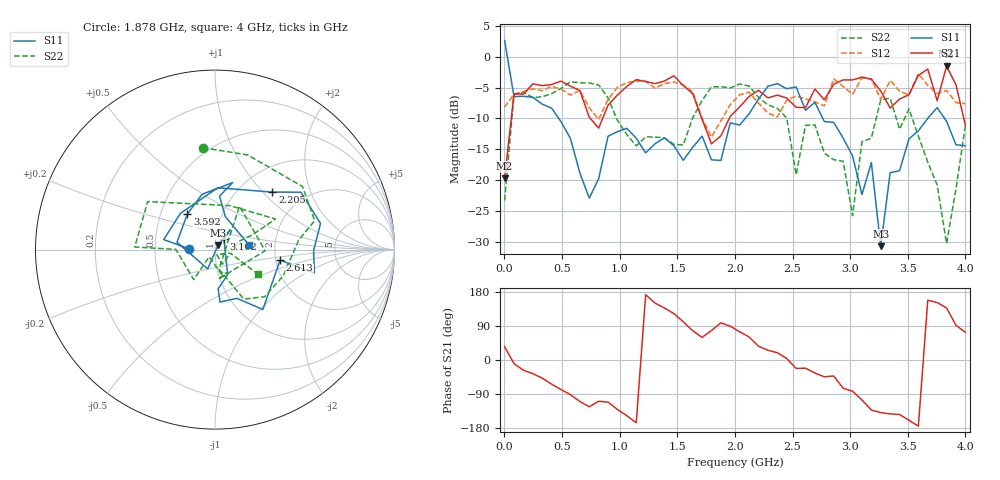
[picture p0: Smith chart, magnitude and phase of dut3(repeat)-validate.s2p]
!Created with skrf (http://scikit-rf.org).
# GHz S DB R 50.0
!freq dBS11 angS11 dBS21 angS21 dBS12 angS12 dBS22 angS22
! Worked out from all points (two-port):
!   50 points, 1 MHz to 4 GHz, reference 50 ohm
!   highest |S21| = -1.53 dB at 3.837 GHz (marker M1); lowest = -19.7 dB at 1 MHz (marker M2)
!   |S21| within 3 dB of the highest: 1.084 GHz to 1.544 GHz (460.6 MHz wide, 35.1 % of centre); 2.855 GHz to 3.222 GHz (366.2 MHz wide, 12.1 % of centre)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
!   lowest |S11| = -30.7 dB at 3.265 GHz (marker M3), VSWR 1.06, Z = 51.7 + j2.44 ohm
!   |S11| at or under -10 dB: 470.7 MHz to 2.09 GHz (1.619 GHz wide, 126 % of centre); 2.762 GHz to 3.673 GHz (911 MHz wide, 28.3 % of centre); 3.819 GHz to end of sweep
!   |S22| runs from -30.3 to -4.1 dB; largest |S21 - S12| = 0.37
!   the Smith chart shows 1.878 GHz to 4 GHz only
!   S11 on the Smith chart (normalised r, x): 1.878 GHz: 0.75, +0.01; 2.205 GHz: 1.41, +1.13; 2.613 GHz: 2.11, -0.29; 3.102 GHz: 1.10, +0.13; 3.592 GHz: 0.68, +0.29; 4 GHz: 1.46, +0.08
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0.001  2.63 -179.1  -19.68 35.0  -8.16 -35.7  -23.29 119.8
0.08261224  -6.47 160.3  -6.03 -9.4  -6.09 -11.0  -6.13 165.0
0.5722857  -13.25 12.9  -4.77 -91.5  -6.22 -95.6  -4.06 59.1
0.7355102  -22.92 -147.4  -9.79 -123.4  -8.25 -139.6  -4.28 -4.7
0.9803469  -12.15 9.4  -6.21 -130.5  -4.95 -128.0  -10.35 -65.2
1.388408  -13.15 -137.5  -3.95 137.2  -4.35 137.9  -13.15 -125.6
1.633245  -14.69 69.2  -5.99 77.4  -5.66 82.2  -9.92 175.1
1.878082  -16.81 178.0  -12.82 98.1  -10.39 100.0  -4.86 96.7
2.041306  -11.09 133.6  -8.13 74.4  -6.17 64.4  -4.42 35.8
2.204531  -6.89 45.0  -5.44 36.3  -7.52 32.7  -6.58 6.4
2.53098  -4.90 -13.2  -8.20 -22.2  -6.39 -0.1  -19.15 -78.3
2.612592  -8.69 -9.2  -8.24 -21.5  -6.84 -9.0  -11.12 60.5
2.694204  -7.38 -51.4  -5.23 -34.4  -7.33 -20.2  -11.07 -1.4
3.020653  -16.09 -63.2  -3.77 -82.5  -6.09 -87.0  -25.76 -129.1
3.102265  -22.34 49.5  -3.31 -105.4  -3.45 -103.6  -13.78 -125.4
3.183878  -17.16 52.5  -3.63 -131.9  -3.62 -126.8  -13.22 179.8
3.26549  -30.71 54.2  -5.57 -138.9  -6.93 -130.8  -6.99 178.1
3.347102  -18.80 -110.8  -8.32 -142.2  -3.86 -134.2  -6.72 144.5
3.510327  -13.32 169.2  -6.16 -159.1  -6.19 177.2  -8.46 26.9
3.591939  -12.02 127.9  -3.03 -174.5  -2.76 171.9  -12.86 21.7
3.836776  -10.48 85.2  -1.53 137.3  -5.47 142.6  -30.28 -69.6
4  -14.42 8.1  -11.10 73.2  -7.61 66.1  -11.14 -29.8
